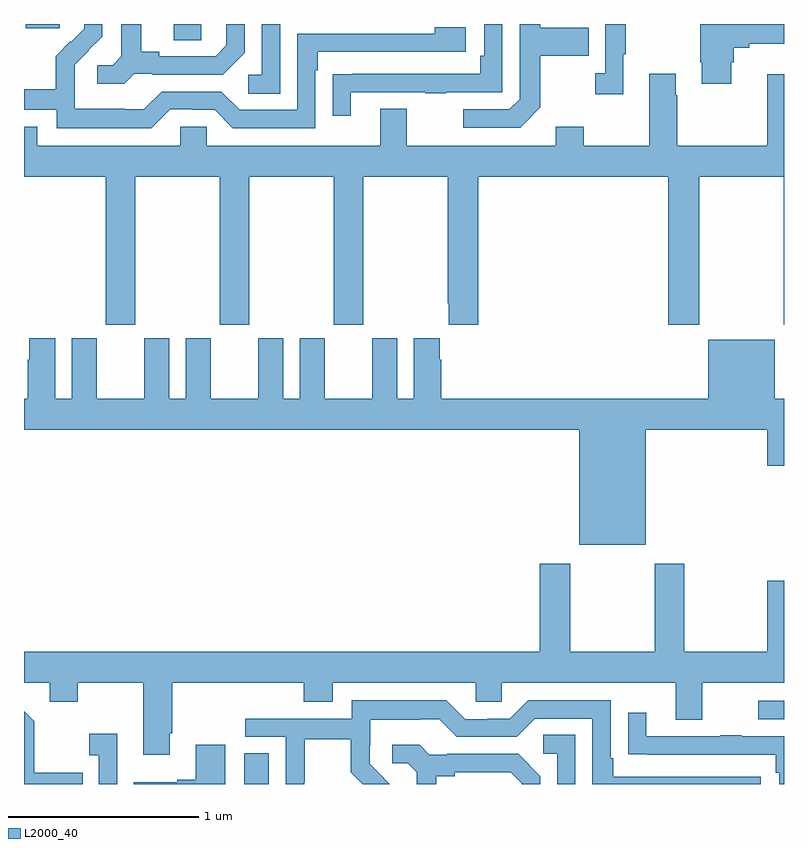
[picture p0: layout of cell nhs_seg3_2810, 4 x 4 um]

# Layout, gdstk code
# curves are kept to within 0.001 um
import gdstk
lib = gdstk.Library(unit=1e-6, precision=1e-09)
def R(c, l, rs):  # rectangles x0, y0, x1, y1
    for r in rs: c.add(gdstk.rectangle(r[:2], r[2:], *l))
def P(c, l, *ps):  # polygons
    for p in ps: c.add(gdstk.Polygon(p, *l))
L2000_40 = (2000, 40)

nhs_seg3_2810 = lib.new_cell('nhs_seg3_2810')
R(nhs_seg3_2810, L2000_40, [(258.158,684.4,258.289,684.563), (260.865,684.741,261,684.837), (257.789,688.315,257.934,688.4), (257.009,688.377,257.188,688.4)])
P(nhs_seg3_2810, L2000_40, [(258.348,688.4),(258.252,688.4),(258.252,688.134),(258.18,688.134),(258.18,688.033),(258.348,688.033)],
  [(259.717,687.961),(259.717,688.234),(259.973,688.234),(259.973,688.381),(259.717,688.381),(259.717,688.4),(259.608,688.4),(259.608,688.005),(259.554,687.951),(259.311,687.951),(259.311,687.855),(259.611,687.855)],
  [(260.722,688.199),(260.735,688.199),(260.735,688.276),(260.818,688.276),(260.818,688.295),(261,688.295),(261,688.4),(260.56,688.4),(260.56,688.198),(260.567,688.198),(260.567,688.086),(260.722,688.086)],
  [(257.58,688.137),(257.674,688.137),(257.674,688.134),(258.046,688.134),(258.162,688.25),(258.162,688.4),(258.065,688.4),(258.065,688.287),(258.008,688.23),(257.713,688.23),(257.713,688.253),(257.617,688.253),(257.617,688.4),(257.513,688.4),(257.513,688.229),(257.466,688.182),(257.385,688.182),(257.385,688.085),(257.528,688.085)],
  [(260.155,688.241),(260.166,688.241),(260.166,688.4),(260.058,688.4),(260.058,688.142),(260.007,688.142),(260.007,688.029),(260.155,688.029)],
  [(258.721,688.041),(259.111,688.041),(259.111,688.036),(259.223,688.036),(259.223,688.041),(259.518,688.041),(259.518,688.4),(259.422,688.4),(259.422,688.234),(259.402,688.234),(259.402,688.137),(258.727,688.137),(258.727,688.136),(258.625,688.136),(258.625,687.918),(258.721,687.918)],
  [(257.769,687.951),(257.885,687.951),(257.885,687.948),(258.003,687.948),(258.099,687.852),(258.534,687.852),(258.534,688.157),(258.547,688.157),(258.547,688.254),(259.324,688.254),(259.324,688.384),(259.163,688.384),(259.163,688.35),(258.438,688.35),(258.438,687.948),(258.135,687.948),(258.039,688.044),(257.724,688.044),(257.631,687.951),(257.531,687.951),(257.531,687.955),(257.268,687.955),(257.268,688.089),(257.266,688.089),(257.266,688.186),(257.412,688.334),(257.412,688.4),(257.318,688.4),(257.318,688.376),(257.247,688.305),(257.244,688.308),(257.167,688.231),(257.167,688.057),(257,688.057),(257,687.948),(257.172,687.948),(257.172,687.851),(257.669,687.851)],
  [(257.586,687.596),(258.031,687.596),(258.031,686.817),(258.186,686.817),(258.186,687.596),(258.631,687.596),(258.631,686.817),(258.786,686.817),(258.786,687.596),(259.231,687.596),(259.231,686.929),(259.235,686.929),(259.235,686.817),(259.391,686.817),(259.391,687.596),(260.392,687.596),(260.392,686.817),(260.553,686.817),(260.553,687.596),(260.998,687.596),(260.998,686.817),(261,686.817),(261,688.135),(260.912,688.135),(260.912,687.76),(260.439,687.76),(260.439,688.025),(260.431,688.025),(260.431,688.138),(260.291,688.138),(260.291,687.76),(259.947,687.76),(259.947,687.859),(259.799,687.859),(259.799,687.76),(259.015,687.76),(259.015,687.955),(258.875,687.955),(258.875,687.76),(257.961,687.76),(257.961,687.858),(257.823,687.858),(257.823,687.76),(257.071,687.76),(257.071,687.859),(257,687.859),(257,687.596),(257.431,687.596),(257.431,686.817),(257.586,686.817)],
  [(260.6,686.737),(260.6,686.428),(259.196,686.428),(259.196,686.633),(259.189,686.633),(259.189,686.746),(259.052,686.746),(259.052,686.428),(258.964,686.428),(258.964,686.746),(258.833,686.746),(258.833,686.428),(258.583,686.428),(258.583,686.746),(258.452,686.746),(258.452,686.428),(258.364,686.428),(258.364,686.746),(258.233,686.746),(258.233,686.428),(257.983,686.428),(257.983,686.746),(257.852,686.746),(257.852,686.428),(257.764,686.428),(257.764,686.746),(257.633,686.746),(257.633,686.428),(257.383,686.428),(257.383,686.746),(257.252,686.746),(257.252,686.428),(257.164,686.428),(257.164,686.746),(257.027,686.746),(257.027,686.633),(257.021,686.633),(257.021,686.428),(257,686.428),(257,686.264),(259.922,686.264),(259.922,685.658),(260.272,685.658),(260.272,686.264),(260.912,686.264),(260.912,686.076),(261,686.076),(261,686.428),(260.95,686.428),(260.95,686.737)],
  [(257.767,684.667),(257.779,684.667),(257.779,684.932),(258.473,684.932),(258.473,684.833),(258.625,684.833),(258.625,684.932),(259.377,684.932),(259.377,684.834),(259.515,684.834),(259.515,684.932),(260.429,684.932),(260.429,684.738),(260.569,684.738),(260.569,684.932),(261,684.932),(261,685.471),(260.912,685.471),(260.912,685.096),(260.475,685.096),(260.475,685.558),(260.32,685.558),(260.32,685.096),(259.875,685.096),(259.875,685.558),(259.715,685.558),(259.715,685.096),(257,685.096),(257,684.932),(257.135,684.932),(257.135,684.833),(257.283,684.833),(257.283,684.932),(257.627,684.932),(257.627,684.555),(257.767,684.555)],
  [(258.474,684.412),(258.477,684.412),(258.477,684.636),(258.721,684.636),(258.721,684.461),(258.782,684.4),(258.924,684.4),(258.82,684.506),(258.82,684.603),(258.822,684.603),(258.822,684.737),(259.085,684.737),(259.085,684.741),(259.185,684.741),(259.278,684.648),(259.593,684.648),(259.689,684.744),(259.992,684.744),(259.992,684.4),(260.878,684.4),(260.878,684.438),(260.101,684.438),(260.101,684.535),(260.088,684.535),(260.088,684.84),(259.653,684.84),(259.557,684.744),(259.439,684.744),(259.439,684.741),(259.323,684.741),(259.223,684.841),(258.726,684.841),(258.726,684.744),(258.165,684.744),(258.165,684.648),(258.378,684.648),(258.378,684.4),(258.474,684.4)],
  [(257.309,684.459),(257.053,684.459),(257.053,684.731),(257,684.784),(257,684.4),(257.309,684.4)],
  [(261,684.651),(260.777,684.651),(260.777,684.656),(260.665,684.656),(260.665,684.651),(260.275,684.651),(260.275,684.775),(260.179,684.775),(260.179,684.556),(260.281,684.556),(260.281,684.555),(260.956,684.555),(260.956,684.458),(260.976,684.458),(260.976,684.4),(261,684.4)],
  [(257.49,684.664),(257.343,684.664),(257.343,684.551),(257.394,684.551),(257.394,684.4),(257.49,684.4)],
  [(259.902,684.659),(259.734,684.659),(259.734,684.558),(259.806,684.558),(259.806,684.4),(259.902,684.4)],
  [(258.058,684.607),(257.903,684.607),(257.903,684.422),(257.807,684.422),(257.807,684.409),(257.577,684.409),(257.577,684.4),(258.058,684.4)],
  [(259.171,684.44),(259.267,684.44),(259.267,684.462),(259.562,684.462),(259.619,684.405),(259.619,684.4),(259.716,684.4),(259.716,684.442),(259.6,684.558),(259.228,684.558),(259.228,684.555),(259.134,684.555),(259.082,684.607),(258.939,684.607),(258.939,684.51),(259.02,684.51),(259.067,684.463),(259.067,684.4),(259.171,684.4)])

lib.write_gds('nhs_seg3_2810.gds')
